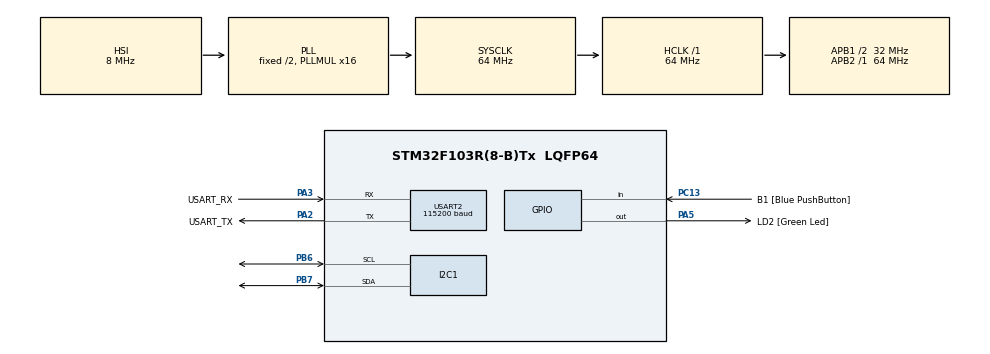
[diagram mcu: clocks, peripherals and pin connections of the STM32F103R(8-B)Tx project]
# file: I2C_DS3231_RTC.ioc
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Mcu.Family=STM32F1
Mcu.Name=STM32F103R(8-B)Tx
Mcu.Package=LQFP64
NVIC.PriorityGroup=NVIC_PRIORITYGROUP_4
PA13.GPIO_Label=TMS
PA13.Mode=Serial_Wire
PA13.Signal=SYS_JTMS-SWDIO
PA14.GPIO_Label=TCK
PA14.Mode=Serial_Wire
PA14.Signal=SYS_JTCK-SWCLK
PA2.GPIO_Label=USART_TX
PA2.GPIO_Mode=GPIO_MODE_AF_PP
PA2.GPIO_PuPd=GPIO_NOPULL
PA2.GPIO_Speed=GPIO_SPEED_FREQ_LOW
PA2.Mode=Asynchronous
PA2.Signal=USART2_TX
PA3.GPIO_Label=USART_RX
PA3.GPIO_PuPd=GPIO_NOPULL
PA3.GPIO_Speed=GPIO_SPEED_FREQ_LOW
PA3.Mode=Asynchronous
PA3.Signal=USART2_RX
PA5.GPIO_Label=LD2 [Green Led]
PA5.GPIO_ModeDefaultOutputPP=GPIO_MODE_OUTPUT_PP
PA5.GPIO_PuPd=GPIO_NOPULL
PA5.GPIO_Speed=GPIO_SPEED_FREQ_LOW
PA5.Signal=GPIO_Output
PB3.GPIO_Label=SWO
PB3.Signal=SYS_JTDO-TRACESWO
PB6.Mode=I2C
PB6.Signal=I2C1_SCL
PB7.Mode=I2C
PB7.Signal=I2C1_SDA
PC13-TAMPER-RTC.GPIO_Label=B1 [Blue PushButton]
PC13-TAMPER-RTC.GPIO_PuPd=GPIO_NOPULL
PC13-TAMPER-RTC.Signal=GPIO_Input
PC14-OSC32_IN.Mode=LSE-External-Oscillator
PC14-OSC32_IN.Signal=RCC_OSC32_IN
PC15-OSC32_OUT.Mode=LSE-External-Oscillator
PC15-OSC32_OUT.Signal=RCC_OSC32_OUT
PD0-OSC_IN.Mode=HSE-External-Clock-Source
PD0-OSC_IN.Signal=RCC_OSC_IN
PD1-OSC_OUT.Mode=HSE-External-Clock-Source
PD1-OSC_OUT.Signal=RCC_OSC_OUT
ProjectManager.HeapSize=0x200
ProjectManager.StackSize=0x400
ProjectManager.TargetToolchain=STM32CubeIDE
RCC.AHBFreq_Value=64000000
RCC.APB1CLKDivider=RCC_HCLK_DIV2
RCC.APB1Freq_Value=32000000
RCC.APB1TimFreq_Value=64000000
RCC.APB2Freq_Value=64000000
RCC.APB2TimFreq_Value=64000000
RCC.HCLKFreq_Value=64000000
RCC.PLLMUL=RCC_PLL_MUL16
RCC.RTCClockSelection=RCC_RTCCLKSOURCE_LSE
RCC.SYSCLKFreq_VALUE=64000000
RCC.SYSCLKSource=RCC_SYSCLKSOURCE_PLLCLK
RCC.USBFreq_Value=64000000
USART2.BaudRate=115200
USART2.VirtualMode=VM_ASYNC
board=NUCLEO-F103RB

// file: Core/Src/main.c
/* USER CODE BEGIN Header */
/**
 ******************************************************************************
 * @file           : main.c
 * @brief          : Main program body
 ******************************************************************************
 * @attention
 *
 * Copyright (c) 2026 STMicroelectronics.
 * All rights reserved.
 *
 * This software is licensed under terms that can be found in the LICENSE file
 * in the root directory of this software component.
 * If no LICENSE file comes with this software, it is provided AS-IS.
 *
 ******************************************************************************
 */
/**
 * 07_I2C_DS3231_RTC_HAL_c  —  [계층: HAL]  I2C 외장 RTC DS3231: BCD 시각 읽기/쓰기, 온도 센서, 컴파일 시각으로 설정
 *
 * F103 내부 RTC(05_RTC_Calendar)는 크리스털 정확도와 VBAT 에 의존한다. DS3231 은 온도 보상 크리스털(TCXO)을 내장해
 * 연 ±수 분 이하로 정확하고, 코인 셀로 전원이 꺼져도 시간을 유지하는 외장 RTC 모듈이다 (모듈: ZS-042, DS3231 보드 등).
 *
 * 배선: VCC=3.3V(5V 도 가능한 모듈이 많다, 풀업 전압을 확인), GND, SCL=PB6, SDA=PB7.  7비트 주소 0x68.
 *
 * DS3231 레지스터 맵 (BCD 형식!)
 *   0x00 초, 0x01 분, 0x02 시(24시간제), 0x03 요일(1~7), 0x04 일, 0x05 월(bit7 = 세기), 0x06 년(00~99)
 *   0x0E 제어, 0x0F 상태(OSF = 오실레이터 정지 플래그: 전원이 완전히 끊겼었다는 표시),
 *   0x11/0x12 온도: MSB = 정수부(부호 있음), LSB 상위 2비트 = 소수부 (0.25°C 단위)
 *   BCD: 십의 자리가 상위 니블, 일의 자리가 하위 니블  (예: 59초 = 0x59).  bcd2bin(x) = (x>>4)*10 + (x&0x0F)
 *
 * 동작
 *   - 부팅 시 OSF 플래그가 1 이거나 B1(PC13)을 누른 채 리셋하면 시각을 "컴파일 시각(__DATE__/__TIME__)"으로 설정
 *   - 1초마다 "YYYY-MM-DD HH:MM:SS (요일) temp=xx.xx C" 를 UART(115200)로 출력
 *   - 전원을 껐다 켜도(코인 셀 있을 때) 시각이 이어지는 것을 확인
 *
 * 참고: 같은 I2C 버스에 EEPROM(06_I2C_EEPROM_AT24C, ZS-042 는 0x57)이 함께 있을 수 있다 (02_I2C_Scan 으로 확인).
 * 인터럽트를 사용하지 않는다.
 */
/* USER CODE END Header */
#include "main.h"

/* USER CODE BEGIN Includes */
#include <stdio.h>
#include <string.h>
/* USER CODE END Includes */

/* USER CODE BEGIN PD */
#define RTC_ADDR (0x68 << 1)

/* USER CODE END PD */

I2C_HandleTypeDef hi2c1;
UART_HandleTypeDef huart2;

void SystemClock_Config(void);
static void MX_GPIO_Init(void);
static void MX_I2C1_Init(void);
static void MX_USART2_UART_Init(void);

/* USER CODE BEGIN 0 */
static uint8_t bin2bcd(uint8_t v) { return (uint8_t)(((v / 10) << 4) | (v % 10)); }
static uint8_t bcd2bin(uint8_t v) { return (uint8_t)((v >> 4) * 10 + (v & 0x0F)); }

/* 컴파일 시각 파싱: __DATE__ = "Sep 22 2026", __TIME__ = "12:34:56" */
static void parse_compile_time(uint8_t t[7])
{
    static const char mon[] = "JanFebMarAprMayJunJulAugSepOctNovDec";
    const char *d = __DATE__, *tm = __TIME__;
    int mo = 1;
    for (int i = 0; i < 12; i++) if (strncmp(d, &mon[i * 3], 3) == 0) { mo = i + 1; break; }
    int day = (d[4] == ' ') ? (d[5] - '0') : ((d[4] - '0') * 10 + (d[5] - '0'));
    int year = (d[9] - '0') * 10 + (d[10] - '0');                       /* 2자리 연도 */
    int y4 = 2000 + year;
    int h = (tm[0] - '0') * 10 + (tm[1] - '0'), mi = (tm[3] - '0') * 10 + (tm[4] - '0'), s = (tm[6] - '0') * 10 + (tm[7] - '0');
    /* 요일(1~7, 일요일=1 로 사용): Zeller 계열 간이 계산 (Sakamoto) */
    static const int tt[] = { 0, 3, 2, 5, 0, 3, 5, 1, 4, 6, 2, 4 };
    int y = y4 - (mo < 3);
    int wd = (y + y / 4 - y / 100 + y / 400 + tt[mo - 1] + day) % 7;   /* 0=일요일 */
    t[0] = bin2bcd((uint8_t)s);  t[1] = bin2bcd((uint8_t)mi);  t[2] = bin2bcd((uint8_t)h);
    t[3] = bin2bcd((uint8_t)(wd + 1));  t[4] = bin2bcd((uint8_t)day);  t[5] = bin2bcd((uint8_t)mo);  t[6] = bin2bcd((uint8_t)year);
}
/* USER CODE END 0 */

int main(void)
{

  /* USER CODE BEGIN 1 */
    char msg[96];
    uint8_t status = 0;
  /* USER CODE END 1 */

  /* MCU Configuration--------------------------------------------------------*/

  /* Reset of all peripherals, Initializes the Flash interface and the Systick. */
  HAL_Init();

  /* Configure the system clock */
  SystemClock_Config();

  /* Initialize all configured peripherals */
  MX_GPIO_Init();
  MX_I2C1_Init();
  MX_USART2_UART_Init();
  /* USER CODE BEGIN 2 */
    if (HAL_I2C_Mem_Read(&hi2c1, RTC_ADDR, 0x0F, I2C_MEMADD_SIZE_8BIT, &status, 1, 100) != HAL_OK)
    {
        HAL_UART_Transmit(&huart2, (uint8_t *)"\r\nDS3231 not found at 0x68\r\n", 28, 100);
        Error_Handler();
    }

    int force = (HAL_GPIO_ReadPin(B1_GPIO_Port, B1_Pin) == GPIO_PIN_RESET);    /* B1 를 누른 채 부팅 */
    if ((status & 0x80) || force)                                            /* OSF: 전원이 끊겼었음 / 강제 설정 */
    {
        uint8_t t[7];
        parse_compile_time(t);
        HAL_I2C_Mem_Write(&hi2c1, RTC_ADDR, 0x00, I2C_MEMADD_SIZE_8BIT, t, 7, 100);   /* 0x00~0x06 을 한 번에 기록 */
        status &= (uint8_t)~0x80;                                            /* OSF 플래그 삭제 */
        HAL_I2C_Mem_Write(&hi2c1, RTC_ADDR, 0x0F, I2C_MEMADD_SIZE_8BIT, &status, 1, 100);
        HAL_UART_Transmit(&huart2, (uint8_t *)"\r\ntime set from compile time\r\n", 30, 100);
    }

    static const char *const wd[8] = { "?", "Sun", "Mon", "Tue", "Wed", "Thu", "Fri", "Sat" };
  /* USER CODE END 2 */

  /* Infinite loop */
  while (1)
  {

    /* USER CODE BEGIN 3 */
        uint8_t r[7], tp[2];
        if (HAL_I2C_Mem_Read(&hi2c1, RTC_ADDR, 0x00, I2C_MEMADD_SIZE_8BIT, r, 7, 100) == HAL_OK &&
            HAL_I2C_Mem_Read(&hi2c1, RTC_ADDR, 0x11, I2C_MEMADD_SIZE_8BIT, tp, 2, 100) == HAL_OK)
        {
            int sec = bcd2bin(r[0] & 0x7F), min = bcd2bin(r[1] & 0x7F), hour = bcd2bin(r[2] & 0x3F);
            int dow = r[3] & 0x07, day = bcd2bin(r[4] & 0x3F), mon = bcd2bin(r[5] & 0x1F), year = 2000 + bcd2bin(r[6]);
            /* 온도: MSB 는 부호 있는 정수부, LSB 상위 2비트가 1/4 도 단위 */
            int t100 = ((int8_t)tp[0]) * 100 + (tp[1] >> 6) * 25;                /* 소수부는 항상 양수로 더한다 (-5.25 = -6 + 0.75) */
            int n = snprintf(msg, sizeof msg, "%04d-%02d-%02d %02d:%02d:%02d (%s)  temp=%d.%02d C\r\n",
                             year, mon, day, hour, min, sec, wd[dow <= 7 ? dow : 0], t100 / 100, (t100 < 0 ? -t100 : t100) % 100);
            HAL_UART_Transmit(&huart2, (uint8_t *)msg, (uint16_t)n, 100);
        }
        else
        {
            HAL_UART_Transmit(&huart2, (uint8_t *)"i2c read error\r\n", 16, 100);
        }
        HAL_Delay(1000);
  }
  /* USER CODE END 3 */
}

void SystemClock_Config(void)
{
  RCC_OscInitTypeDef RCC_OscInitStruct = {0};
  RCC_ClkInitTypeDef RCC_ClkInitStruct = {0};

  /** Initializes the RCC Oscillators according to the specified parameters
  * in the RCC_OscInitTypeDef structure.
  */
  RCC_OscInitStruct.OscillatorType = RCC_OSCILLATORTYPE_HSI;
  RCC_OscInitStruct.HSIState = RCC_HSI_ON;
  RCC_OscInitStruct.HSICalibrationValue = RCC_HSICALIBRATION_DEFAULT;
  RCC_OscInitStruct.PLL.PLLState = RCC_PLL_ON;
  RCC_OscInitStruct.PLL.PLLSource = RCC_PLLSOURCE_HSI_DIV2;
  RCC_OscInitStruct.PLL.PLLMUL = RCC_PLL_MUL16;
  if (HAL_RCC_OscConfig(&RCC_OscInitStruct) != HAL_OK)
  {
    Error_Handler();
  }

  /** Initializes the CPU, AHB and APB buses clocks
  */
  RCC_ClkInitStruct.ClockType = RCC_CLOCKTYPE_HCLK|RCC_CLOCKTYPE_SYSCLK
                              |RCC_CLOCKTYPE_PCLK1|RCC_CLOCKTYPE_PCLK2;
  RCC_ClkInitStruct.SYSCLKSource = RCC_SYSCLKSOURCE_PLLCLK;
  RCC_ClkInitStruct.AHBCLKDivider = RCC_SYSCLK_DIV1;
  RCC_ClkInitStruct.APB1CLKDivider = RCC_HCLK_DIV2;
  RCC_ClkInitStruct.APB2CLKDivider = RCC_HCLK_DIV1;

  if (HAL_RCC_ClockConfig(&RCC_ClkInitStruct, FLASH_LATENCY_2) != HAL_OK)
  {
    Error_Handler();
  }
}

static void MX_I2C1_Init(void)
{

  hi2c1.Instance = I2C1;
  hi2c1.Init.ClockSpeed = 100000;
  hi2c1.Init.DutyCycle = I2C_DUTYCYCLE_2;
  hi2c1.Init.OwnAddress1 = 0;
  hi2c1.Init.AddressingMode = I2C_ADDRESSINGMODE_7BIT;
  hi2c1.Init.DualAddressMode = I2C_DUALADDRESS_DISABLE;
  hi2c1.Init.OwnAddress2 = 0;
  hi2c1.Init.GeneralCallMode = I2C_GENERALCALL_DISABLE;
  hi2c1.Init.NoStretchMode = I2C_NOSTRETCH_DISABLE;
  if (HAL_I2C_Init(&hi2c1) != HAL_OK)
  {
    Error_Handler();
  }
  /* USER CODE BEGIN I2C1_Init 2 */
  /* HAL_I2C_Init -> (MspInit) 후 I2C1->CR2.FREQ = PCLK1(MHz), I2C1->CCR / TRISE = 100kHz 타이밍,
   * CR1.PE = 1. NoStretch/GeneralCall/DualAddress = OAR2.ENDUAL, CR1.NOSTRETCH/ENGC 비트 */
  /* USER CODE END I2C1_Init 2 */

}

static void MX_USART2_UART_Init(void)
{

  huart2.Instance = USART2;
  huart2.Init.BaudRate = 115200;
  huart2.Init.WordLength = UART_WORDLENGTH_8B;
  huart2.Init.StopBits = UART_STOPBITS_1;
  huart2.Init.Parity = UART_PARITY_NONE;
  huart2.Init.Mode = UART_MODE_TX_RX;
  huart2.Init.HwFlowCtl = UART_HWCONTROL_NONE;
  huart2.Init.OverSampling = UART_OVERSAMPLING_16;
  if (HAL_UART_Init(&huart2) != HAL_OK)
  {
    Error_Handler();
  }

}

static void MX_GPIO_Init(void)
{
  GPIO_InitTypeDef GPIO_InitStruct = {0};

  /* GPIO Ports Clock Enable */
  __HAL_RCC_GPIOC_CLK_ENABLE();
  __HAL_RCC_GPIOD_CLK_ENABLE();
  __HAL_RCC_GPIOA_CLK_ENABLE();
  __HAL_RCC_GPIOB_CLK_ENABLE();

  /*Configure GPIO pin Output Level */
  HAL_GPIO_WritePin(LD2_GPIO_Port, LD2_Pin, GPIO_PIN_RESET);

  /*Configure GPIO pin : B1_Pin */
  GPIO_InitStruct.Pin = B1_Pin;
  GPIO_InitStruct.Mode = GPIO_MODE_INPUT;
  GPIO_InitStruct.Pull = GPIO_NOPULL;
  HAL_GPIO_Init(B1_GPIO_Port, &GPIO_InitStruct);

  /*Configure GPIO pin : LD2_Pin */
  GPIO_InitStruct.Pin = LD2_Pin;
  GPIO_InitStruct.Mode = GPIO_MODE_OUTPUT_PP;
  GPIO_InitStruct.Pull = GPIO_NOPULL;
  GPIO_InitStruct.Speed = GPIO_SPEED_FREQ_LOW;
  HAL_GPIO_Init(LD2_GPIO_Port, &GPIO_InitStruct);

}

void Error_Handler(void)
{
  __disable_irq();
  while (1) {
  }
}
#ifdef USE_FULL_ASSERT
/**
  * @brief  Reports the name of the source file and the source line number
  *         where the assert_param error has occurred.
  * @param  file: pointer to the source file name
  * @param  line: assert_param error line source number
  * @retval None
  */
void assert_failed(uint8_t *file, uint32_t line)
{
  /* USER CODE BEGIN 6 */
  /* User can add his own implementation to report the file name and line
     number, ex: printf("Wrong parameters value: file %s on line %d\r\n", file,
     line) */
  /* USER CODE END 6 */
}
#endif /* USE_FULL_ASSERT */
